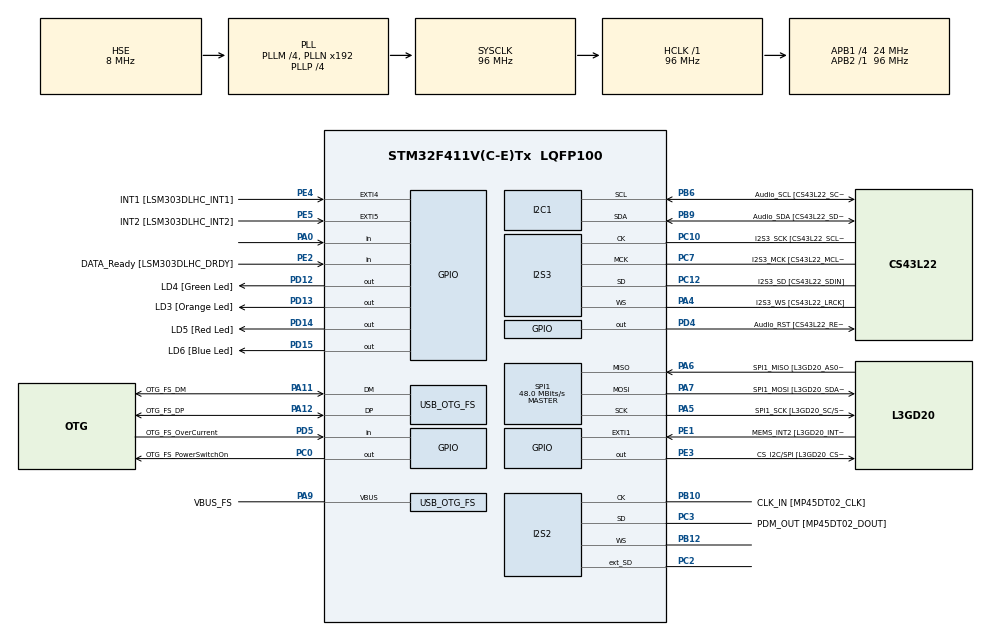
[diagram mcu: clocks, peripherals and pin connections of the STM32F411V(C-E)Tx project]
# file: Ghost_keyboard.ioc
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I2S2.AudioFreq=I2S_AUDIOFREQ_96K
I2S2.ErrorAudioFreq=0.15 %
I2S2.FullDuplexMode=I2S_FULLDUPLEXMODE_ENABLE
I2S2.Instance=SPI$Index
I2S2.RealAudioFreq=96.153 KHz
I2S2.VirtualMode=I2S_MODE_MASTER
I2S3.AudioFreq=I2S_AUDIOFREQ_96K
I2S3.ErrorAudioFreq=-6.99 %
I2S3.FullDuplexMode=I2S_FULLDUPLEXMODE_DISABLE
I2S3.Instance=SPI$Index
I2S3.RealAudioFreq=89.285 KHz
I2S3.VirtualMode=I2S_MODE_MASTER
Mcu.Family=STM32F4
Mcu.Name=STM32F411V(C-E)Tx
Mcu.Package=LQFP100
NVIC.OTG_FS_IRQn=true\:0\:0\:false\:false\:true\:true\:true\:true
NVIC.PriorityGroup=NVIC_PRIORITYGROUP_0
PA0-WKUP.Signal=GPIO_Input
PA10.GPIO_Label=OTG_FS_ID
PA10.Signal=USB_OTG_FS_ID
PA11.GPIO_Label=OTG_FS_DM
PA11.Mode=Device_Only
PA11.Signal=USB_OTG_FS_DM
PA12.GPIO_Label=OTG_FS_DP
PA12.Mode=Device_Only
PA12.Signal=USB_OTG_FS_DP
PA13.GPIO_Label=SWDIO
PA13.Mode=Serial_Wire
PA13.Signal=SYS_JTMS-SWDIO
PA14.GPIO_Label=SWCLK
PA14.Mode=Serial_Wire
PA14.Signal=SYS_JTCK-SWCLK
PA4.GPIO_Label=I2S3_WS [CS43L22_LRCK]
PA4.GPIO_Mode=GPIO_MODE_AF_PP
PA4.GPIO_PuPd=GPIO_NOPULL
PA4.GPIO_Speed=GPIO_SPEED_FREQ_LOW
PA4.Mode=Half_Duplex_Master
PA4.Signal=I2S3_WS
PA5.GPIO_Label=SPI1_SCK [L3GD20_SC/SPC]
PA5.Mode=Full_Duplex_Master
PA5.Signal=SPI1_SCK
PA6.GPIO_Label=SPI1_MISO [L3GD20_AS0/SDO]
PA6.Mode=Full_Duplex_Master
PA6.Signal=SPI1_MISO
PA7.GPIO_Label=SPI1_MOSI [L3GD20_SDA/SDI/SDO]
PA7.Mode=Full_Duplex_Master
PA7.Signal=SPI1_MOSI
PA9.GPIO_Label=VBUS_FS
PA9.Mode=Activate_VBUS
PA9.Signal=USB_OTG_FS_VBUS
PB10.GPIO_Label=CLK_IN [MP45DT02_CLK]
PB10.Mode=Full_Duplex_Master
PB10.Signal=I2S2_CK
PB12.Mode=Full_Duplex_Master
PB12.Signal=I2S2_WS
PB3.GPIO_Label=SWO
PB3.Signal=SYS_JTDO-SWO
PB6.GPIO_Label=Audio_SCL [CS43L22_SCL]
PB6.GPIO_Mode=GPIO_MODE_AF_OD
PB6.GPIO_Pu=GPIO_PULLUP
PB6.GPIO_PuPd=GPIO_NOPULL
PB6.GPIO_Speed=GPIO_SPEED_FREQ_LOW
PB6.Mode=I2C
PB6.Signal=I2C1_SCL
PB9.GPIO_Label=Audio_SDA [CS43L22_SDA]
PB9.GPIO_Mode=GPIO_MODE_AF_OD
PB9.GPIO_Pu=GPIO_PULLUP
PB9.GPIO_PuPd=GPIO_NOPULL
PB9.GPIO_Speed=GPIO_SPEED_FREQ_LOW
PB9.Mode=I2C
PB9.Signal=I2C1_SDA
PC0.GPIO_Label=OTG_FS_PowerSwitchOn
PC0.PinState=GPIO_PIN_SET
PC0.Signal=GPIO_Output
PC10.GPIO_Label=I2S3_SCK [CS43L22_SCLK]
PC10.GPIO_Mode=GPIO_MODE_AF_PP
PC10.GPIO_PuPd=GPIO_NOPULL
PC10.GPIO_Speed=GPIO_SPEED_FREQ_LOW
PC10.Mode=Half_Duplex_Master
PC10.Signal=I2S3_CK
PC12.GPIO_Label=I2S3_SD [CS43L22_SDIN]
PC12.GPIO_Mode=GPIO_MODE_AF_PP
PC12.GPIO_PuPd=GPIO_NOPULL
PC12.GPIO_Speed=GPIO_SPEED_FREQ_LOW
PC12.Mode=Half_Duplex_Master
PC12.Signal=I2S3_SD
PC14-OSC32_IN.GPIO_Label=PC14-OSC32_IN
PC14-OSC32_IN.Mode=LSE-External-Oscillator
PC14-OSC32_IN.Signal=RCC_OSC32_IN
PC15-OSC32_OUT.GPIO_Label=PC15-OSC32_OUT
PC15-OSC32_OUT.Mode=LSE-External-Oscillator
PC15-OSC32_OUT.Signal=RCC_OSC32_OUT
PC2.Mode=Full_Duplex_Master
PC2.Signal=I2S2_ext_SD
PC3.GPIO_Label=PDM_OUT [MP45DT02_DOUT]
PC3.Mode=Full_Duplex_Master
PC3.Signal=I2S2_SD
PC7.GPIO_Label=I2S3_MCK [CS43L22_MCLK]
PC7.GPIO_Mode=GPIO_MODE_AF_PP
PC7.GPIO_PuPd=GPIO_NOPULL
PC7.GPIO_Speed=GPIO_SPEED_FREQ_LOW
PC7.Mode=Master_Clock_Activated
PC7.Signal=I2S3_MCK
PD12.GPIO_Label=LD4 [Green Led]
PD12.GPIO_PuPd=GPIO_NOPULL
PD12.GPIO_Speed=GPIO_SPEED_FREQ_LOW
PD12.Signal=GPIO_Output
PD13.GPIO_Label=LD3 [Orange Led]
PD13.GPIO_PuPd=GPIO_NOPULL
PD13.GPIO_Speed=GPIO_SPEED_FREQ_LOW
PD13.Signal=GPIO_Output
PD14.GPIO_Label=LD5 [Red Led]
PD14.GPIO_PuPd=GPIO_NOPULL
PD14.GPIO_Speed=GPIO_SPEED_FREQ_LOW
PD14.Signal=GPIO_Output
PD15.GPIO_Label=LD6 [Blue Led]
PD15.GPIO_PuPd=GPIO_NOPULL
PD15.GPIO_Speed=GPIO_SPEED_FREQ_LOW
PD15.Signal=GPIO_Output
PD4.GPIO_Label=Audio_RST [CS43L22_RESET]
PD4.Signal=GPIO_Output
PD5.GPIO_Label=OTG_FS_OverCurrent
PD5.Signal=GPIO_Input
PE1.GPIO_Label=MEMS_INT2 [L3GD20_INT2]
PE1.GPIO_ModeDefaultEXTI=GPIO_MODE_EVT_RISING
PE1.Signal=GPXTI1
PE2.GPIO_Label=DATA_Ready [LSM303DLHC_DRDY]
PE2.Signal=GPIO_Input
PE3.GPIO_Label=CS_I2C/SPI [L3GD20_CS_I2C/SPI]
PE3.Signal=GPIO_Output
PE4.GPIO_Label=INT1 [LSM303DLHC_INT1]
PE4.GPIO_ModeDefaultEXTI=GPIO_MODE_EVT_RISING
PE4.Signal=GPXTI4
PE5.GPIO_Label=INT2 [LSM303DLHC_INT2]
PE5.GPIO_ModeDefaultEXTI=GPIO_MODE_EVT_RISING
PE5.Signal=GPXTI5
PH0\ -\ OSC_IN.GPIO_Label=PH0-OSC_IN
PH0\ -\ OSC_IN.Mode=HSE-External-Oscillator
PH0\ -\ OSC_IN.Signal=RCC_OSC_IN
PH1\ -\ OSC_OUT.GPIO_Label=PH1-OSC_OUT
PH1\ -\ OSC_OUT.Mode=HSE-External-Oscillator
PH1\ -\ OSC_OUT.Signal=RCC_OSC_OUT
ProjectManager.HeapSize=0x200
ProjectManager.StackSize=0x400
ProjectManager.TargetToolchain=STM32CubeIDE
RCC.48MHZClocksFreq_Value=48000000
RCC.AHBFreq_Value=96000000
RCC.APB1CLKDivider=RCC_HCLK_DIV4
RCC.APB1Freq_Value=24000000
RCC.APB1TimFreq_Value=48000000
RCC.APB2Freq_Value=96000000
RCC.APB2TimFreq_Value=96000000
RCC.CortexFreq_Value=96000000
RCC.HCLKFreq_Value=96000000
RCC.HSE_VALUE=8000000
RCC.HSI_VALUE=16000000
RCC.PLLI2SM=5
RCC.PLLI2SN=200
RCC.PLLM=4
RCC.PLLP=RCC_PLLP_DIV4
RCC.PLLQ=8
RCC.SYSCLKFreq_VALUE=96000000
RCC.SYSCLKSource=RCC_SYSCLKSOURCE_PLLCLK
RCC.VCOOutputFreq_Value=384000000
SPI1.BaudRatePrescaler=SPI_BAUDRATEPRESCALER_2
SPI1.CalculateBaudRate=48.0 MBits/s
SPI1.Direction=SPI_DIRECTION_2LINES
SPI1.Mode=SPI_MODE_MASTER
SPI1.VirtualType=VM_MASTER
USB_DEVICE.CLASS_NAME_FS=CUSTOM_HID
USB_DEVICE.MANUFACTURER_STRING=KeyboardGhost
USB_DEVICE.USBD_CUSTOMHID_OUTREPORT_BUF_SIZE=9
USB_DEVICE.USBD_CUSTOM_HID_REPORT_DESC_SIZE=63
USB_DEVICE.VirtualMode=CustomHid
USB_DEVICE.VirtualModeFS=Custom_Hid_FS
USB_OTG_FS.VirtualMode=Device_Only
VP_USB_DEVICE_VS_USB_DEVICE_CUSTOM_HID_FS.Mode=CUSTOM_HID_FS
board=STM32F411E-DISCO

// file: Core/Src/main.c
/* USER CODE BEGIN Header */
/*
  */
/* USER CODE END Header */
#include "main.h"
#include "usb_device.h"

/* USER CODE BEGIN Includes */
#include "usbd_custom_hid_if.h"
#include <stdbool.h>
#include <string.h>	// For memset

/* USER CODE END Includes */

I2C_HandleTypeDef hi2c1;

I2S_HandleTypeDef hi2s2;
I2S_HandleTypeDef hi2s3;

SPI_HandleTypeDef hspi1;

/* USER CODE BEGIN PV */
extern USBD_HandleTypeDef hUsbDeviceFS;

static uint8_t keyboard_report[8] = {0};   // Modifier, reserved, key1..key6
static bool button_press_state = 0;	// 0 = unpressed, 1 = pressed
static bool button_last_state = 0;	// 0 = unpressed, 1 = pressed

/* USER CODE END PV */

void SystemClock_Config(void);
void PeriphCommonClock_Config(void);
static void MX_GPIO_Init(void);
static void MX_I2C1_Init(void);
static void MX_I2S2_Init(void);
static void MX_I2S3_Init(void);
static void MX_SPI1_Init(void);
/* USER CODE BEGIN PFP */

void hid_send_key(uint8_t modifier, uint8_t keycode);
void hid_send_char(char c);
void hid_send_string(const char *s);
void hid_send_ascii_range(char from, char to);
uint8_t ascii_to_hid(char c, uint8_t *modifier, uint8_t *keycode);

/* USER CODE END PFP */

int main(void)
{

  /* MCU Configuration--------------------------------------------------------*/

  /* Reset of all peripherals, Initializes the Flash interface and the Systick. */
  HAL_Init();

  /* Configure the system clock */
  SystemClock_Config();

  /* Configure the peripherals common clocks */
  PeriphCommonClock_Config();

  /* Initialize all configured peripherals */
  MX_GPIO_Init();
  MX_I2C1_Init();
  MX_I2S2_Init();
  MX_I2S3_Init();
  MX_SPI1_Init();
  MX_USB_DEVICE_Init();

  /* Infinite loop */
  /* USER CODE BEGIN WHILE */
  while (1)
  {
	  uint8_t button_state = HAL_GPIO_ReadPin(GPIOA, GPIO_PIN_0);

	  if (button_state && !button_last_state)	// Detect rising edge (button just pressed)
	  {
		  HAL_Delay(30);	// Simple debounce
		  if (HAL_GPIO_ReadPin(GPIOA, GPIO_PIN_0))  // Still pressed
		  {
			  button_press_state = !button_press_state;
			  if (button_press_state)  // Even press
			  {
				  hid_send_string("29402");	// Type "29402"
			  }
			  else	// Odd press
			  {
				  hid_send_ascii_range(36, 124);	// Type ASCII characters from 36 ('$') to 124 ('|')
			  }
		  }
	  }

	  button_last_state = button_state;
	  HAL_Delay(5);  // Small poll delay
    /* USER CODE END WHILE */

  }
}

void SystemClock_Config(void)
{
  RCC_OscInitTypeDef RCC_OscInitStruct = {0};
  RCC_ClkInitTypeDef RCC_ClkInitStruct = {0};

  /** Configure the main internal regulator output voltage
  */
  __HAL_RCC_PWR_CLK_ENABLE();
  __HAL_PWR_VOLTAGESCALING_CONFIG(PWR_REGULATOR_VOLTAGE_SCALE1);

  /** Initializes the RCC Oscillators according to the specified parameters
  * in the RCC_OscInitTypeDef structure.
  */
  RCC_OscInitStruct.OscillatorType = RCC_OSCILLATORTYPE_HSE;
  RCC_OscInitStruct.HSEState = RCC_HSE_ON;
  RCC_OscInitStruct.PLL.PLLState = RCC_PLL_ON;
  RCC_OscInitStruct.PLL.PLLSource = RCC_PLLSOURCE_HSE;
  RCC_OscInitStruct.PLL.PLLM = 4;
  RCC_OscInitStruct.PLL.PLLN = 192;
  RCC_OscInitStruct.PLL.PLLP = RCC_PLLP_DIV4;
  RCC_OscInitStruct.PLL.PLLQ = 8;
  if (HAL_RCC_OscConfig(&RCC_OscInitStruct) != HAL_OK)
  {
    Error_Handler();
  }

  /** Initializes the CPU, AHB and APB buses clocks
  */
  RCC_ClkInitStruct.ClockType = RCC_CLOCKTYPE_HCLK|RCC_CLOCKTYPE_SYSCLK
                              |RCC_CLOCKTYPE_PCLK1|RCC_CLOCKTYPE_PCLK2;
  RCC_ClkInitStruct.SYSCLKSource = RCC_SYSCLKSOURCE_PLLCLK;
  RCC_ClkInitStruct.AHBCLKDivider = RCC_SYSCLK_DIV1;
  RCC_ClkInitStruct.APB1CLKDivider = RCC_HCLK_DIV4;
  RCC_ClkInitStruct.APB2CLKDivider = RCC_HCLK_DIV1;

  if (HAL_RCC_ClockConfig(&RCC_ClkInitStruct, FLASH_LATENCY_3) != HAL_OK)
  {
    Error_Handler();
  }
}

void PeriphCommonClock_Config(void)
{
  RCC_PeriphCLKInitTypeDef PeriphClkInitStruct = {0};

  /** Initializes the peripherals clock
  */
  PeriphClkInitStruct.PeriphClockSelection = RCC_PERIPHCLK_I2S;
  PeriphClkInitStruct.PLLI2S.PLLI2SN = 200;
  PeriphClkInitStruct.PLLI2S.PLLI2SM = 5;
  PeriphClkInitStruct.PLLI2S.PLLI2SR = 2;
  if (HAL_RCCEx_PeriphCLKConfig(&PeriphClkInitStruct) != HAL_OK)
  {
    Error_Handler();
  }
}

static void MX_I2C1_Init(void)
{

  hi2c1.Instance = I2C1;
  hi2c1.Init.ClockSpeed = 100000;
  hi2c1.Init.DutyCycle = I2C_DUTYCYCLE_2;
  hi2c1.Init.OwnAddress1 = 0;
  hi2c1.Init.AddressingMode = I2C_ADDRESSINGMODE_7BIT;
  hi2c1.Init.DualAddressMode = I2C_DUALADDRESS_DISABLE;
  hi2c1.Init.OwnAddress2 = 0;
  hi2c1.Init.GeneralCallMode = I2C_GENERALCALL_DISABLE;
  hi2c1.Init.NoStretchMode = I2C_NOSTRETCH_DISABLE;
  if (HAL_I2C_Init(&hi2c1) != HAL_OK)
  {
    Error_Handler();
  }

}

static void MX_I2S2_Init(void)
{

  hi2s2.Instance = SPI2;
  hi2s2.Init.Mode = I2S_MODE_MASTER_TX;
  hi2s2.Init.Standard = I2S_STANDARD_PHILIPS;
  hi2s2.Init.DataFormat = I2S_DATAFORMAT_16B;
  hi2s2.Init.MCLKOutput = I2S_MCLKOUTPUT_DISABLE;
  hi2s2.Init.AudioFreq = I2S_AUDIOFREQ_96K;
  hi2s2.Init.CPOL = I2S_CPOL_LOW;
  hi2s2.Init.ClockSource = I2S_CLOCK_PLL;
  hi2s2.Init.FullDuplexMode = I2S_FULLDUPLEXMODE_ENABLE;
  if (HAL_I2S_Init(&hi2s2) != HAL_OK)
  {
    Error_Handler();
  }

}

static void MX_I2S3_Init(void)
{

  hi2s3.Instance = SPI3;
  hi2s3.Init.Mode = I2S_MODE_MASTER_TX;
  hi2s3.Init.Standard = I2S_STANDARD_PHILIPS;
  hi2s3.Init.DataFormat = I2S_DATAFORMAT_16B;
  hi2s3.Init.MCLKOutput = I2S_MCLKOUTPUT_ENABLE;
  hi2s3.Init.AudioFreq = I2S_AUDIOFREQ_96K;
  hi2s3.Init.CPOL = I2S_CPOL_LOW;
  hi2s3.Init.ClockSource = I2S_CLOCK_PLL;
  hi2s3.Init.FullDuplexMode = I2S_FULLDUPLEXMODE_DISABLE;
  if (HAL_I2S_Init(&hi2s3) != HAL_OK)
  {
    Error_Handler();
  }

}

static void MX_SPI1_Init(void)
{

  /* SPI1 parameter configuration*/
  hspi1.Instance = SPI1;
  hspi1.Init.Mode = SPI_MODE_MASTER;
  hspi1.Init.Direction = SPI_DIRECTION_2LINES;
  hspi1.Init.DataSize = SPI_DATASIZE_8BIT;
  hspi1.Init.CLKPolarity = SPI_POLARITY_LOW;
  hspi1.Init.CLKPhase = SPI_PHASE_1EDGE;
  hspi1.Init.NSS = SPI_NSS_SOFT;
  hspi1.Init.BaudRatePrescaler = SPI_BAUDRATEPRESCALER_2;
  hspi1.Init.FirstBit = SPI_FIRSTBIT_MSB;
  hspi1.Init.TIMode = SPI_TIMODE_DISABLE;
  hspi1.Init.CRCCalculation = SPI_CRCCALCULATION_DISABLE;
  hspi1.Init.CRCPolynomial = 10;
  if (HAL_SPI_Init(&hspi1) != HAL_OK)
  {
    Error_Handler();
  }

}

static void MX_GPIO_Init(void)
{
  GPIO_InitTypeDef GPIO_InitStruct = {0};

  /* GPIO Ports Clock Enable */
  __HAL_RCC_GPIOE_CLK_ENABLE();
  __HAL_RCC_GPIOC_CLK_ENABLE();
  __HAL_RCC_GPIOH_CLK_ENABLE();
  __HAL_RCC_GPIOA_CLK_ENABLE();
  __HAL_RCC_GPIOB_CLK_ENABLE();
  __HAL_RCC_GPIOD_CLK_ENABLE();

  /*Configure GPIO pin Output Level */
  HAL_GPIO_WritePin(CS_I2C_SPI_GPIO_Port, CS_I2C_SPI_Pin, GPIO_PIN_RESET);

  /*Configure GPIO pin Output Level */
  HAL_GPIO_WritePin(OTG_FS_PowerSwitchOn_GPIO_Port, OTG_FS_PowerSwitchOn_Pin, GPIO_PIN_SET);

  /*Configure GPIO pin Output Level */
  HAL_GPIO_WritePin(GPIOD, LD4_Pin|LD3_Pin|LD5_Pin|LD6_Pin
                          |Audio_RST_Pin, GPIO_PIN_RESET);

  /*Configure GPIO pin : DATA_Ready_Pin */
  GPIO_InitStruct.Pin = DATA_Ready_Pin;
  GPIO_InitStruct.Mode = GPIO_MODE_INPUT;
  GPIO_InitStruct.Pull = GPIO_NOPULL;
  HAL_GPIO_Init(DATA_Ready_GPIO_Port, &GPIO_InitStruct);

  /*Configure GPIO pin : CS_I2C_SPI_Pin */
  GPIO_InitStruct.Pin = CS_I2C_SPI_Pin;
  GPIO_InitStruct.Mode = GPIO_MODE_OUTPUT_PP;
  GPIO_InitStruct.Pull = GPIO_NOPULL;
  GPIO_InitStruct.Speed = GPIO_SPEED_FREQ_LOW;
  HAL_GPIO_Init(CS_I2C_SPI_GPIO_Port, &GPIO_InitStruct);

  /*Configure GPIO pins : INT1_Pin INT2_Pin MEMS_INT2_Pin */
  GPIO_InitStruct.Pin = INT1_Pin|INT2_Pin|MEMS_INT2_Pin;
  GPIO_InitStruct.Mode = GPIO_MODE_EVT_RISING;
  GPIO_InitStruct.Pull = GPIO_NOPULL;
  HAL_GPIO_Init(GPIOE, &GPIO_InitStruct);

  /*Configure GPIO pin : OTG_FS_PowerSwitchOn_Pin */
  GPIO_InitStruct.Pin = OTG_FS_PowerSwitchOn_Pin;
  GPIO_InitStruct.Mode = GPIO_MODE_OUTPUT_PP;
  GPIO_InitStruct.Pull = GPIO_NOPULL;
  GPIO_InitStruct.Speed = GPIO_SPEED_FREQ_LOW;
  HAL_GPIO_Init(OTG_FS_PowerSwitchOn_GPIO_Port, &GPIO_InitStruct);

  /*Configure GPIO pin : PA0 */
  GPIO_InitStruct.Pin = GPIO_PIN_0;
  GPIO_InitStruct.Mode = GPIO_MODE_INPUT;
  GPIO_InitStruct.Pull = GPIO_NOPULL;
  HAL_GPIO_Init(GPIOA, &GPIO_InitStruct);

  /*Configure GPIO pins : LD4_Pin LD3_Pin LD5_Pin LD6_Pin
                           Audio_RST_Pin */
  GPIO_InitStruct.Pin = LD4_Pin|LD3_Pin|LD5_Pin|LD6_Pin
                          |Audio_RST_Pin;
  GPIO_InitStruct.Mode = GPIO_MODE_OUTPUT_PP;
  GPIO_InitStruct.Pull = GPIO_NOPULL;
  GPIO_InitStruct.Speed = GPIO_SPEED_FREQ_LOW;
  HAL_GPIO_Init(GPIOD, &GPIO_InitStruct);

  /*Configure GPIO pin : OTG_FS_OverCurrent_Pin */
  GPIO_InitStruct.Pin = OTG_FS_OverCurrent_Pin;
  GPIO_InitStruct.Mode = GPIO_MODE_INPUT;
  GPIO_InitStruct.Pull = GPIO_NOPULL;
  HAL_GPIO_Init(OTG_FS_OverCurrent_GPIO_Port, &GPIO_InitStruct);

}

/* USER CODE BEGIN 4 */

/*
  Send one HID keyboard key (press + release).
  modifier: bitfield (bit 1 = LeftShift, bit 2 = LeftCtrl, etc.)
  keycode : HID usage ID for the key.
*/
void hid_send_key(uint8_t modifier, uint8_t keycode)
{
	// Press
	memset(keyboard_report, 0, sizeof(keyboard_report));	// Clear report bytes
	keyboard_report[0] = modifier;	// Set first byte for modifier
	keyboard_report[2] = keycode;	// First key slot (only one used)

	USBD_CUSTOM_HID_SendReport(&hUsbDeviceFS, keyboard_report, sizeof(keyboard_report));	// Key press
	HAL_Delay(20);   // Key hold time

	// Release
	memset(keyboard_report, 0, sizeof(keyboard_report));	// Reset memory
	USBD_CUSTOM_HID_SendReport(&hUsbDeviceFS, keyboard_report, sizeof(keyboard_report));	// Nothing is being pressed
	HAL_Delay(245);	// Delay between sending of characters
}
/*
    Convert ASCII character to HID modifier + keycode.
    Returns 1 if conversion exists, 0 otherwise.

    NOTE: Mapping is for a standard HID Keyboard with Bosnian
    QWERTZ layout.
 */
uint8_t ascii_to_hid(char c, uint8_t *modifier, uint8_t *keycode)
{
	*modifier = 0;
	*keycode = 0;

	switch (c)
	{
		// From 36 to 47 ASCII
		case '$': *modifier = 0x02; *keycode = 0x21; break;	// Shift + 4
		case '%': *modifier = 0x02; *keycode = 0x22; break;	// Shift + 5
		case '&': *modifier = 0x02; *keycode = 0x23; break;	// Shift + 6
		case '\'': *keycode = 0x2D; break;	// Next to 0
		case '(': *modifier = 0x02; *keycode = 0x25; break;	// Shift + 8
		case ')': *modifier = 0x02; *keycode = 0x26; break;	// Shift + 9
		case '*': *modifier = 0x02; *keycode = 0x2E; break;	// Shift + '+' (last key row)
		case '+': *keycode = 0x2E; break;	// '+'
		case ',': *keycode = 0x36; break;
		case '-': *keycode = 0x38; break;	// '-' (near right Shift)
		case '.': *keycode = 0x37; break;
		case '/': *modifier = 0x02; *keycode = 0x24; break;	// Shift + 7

		// From 48 to 57 ASCII
		case '0': *keycode = 0x27; break;	// 0
		case '1': *keycode = 0x1E; break;	// 1
		case '2': *keycode = 0x1F; break;	// 2
		case '3': *keycode = 0x20; break;	// 3
		case '4': *keycode = 0x21; break;	// 4
		case '5': *keycode = 0x22; break;	// 5
		case '6': *keycode = 0x23; break;	// 6
		case '7': *keycode = 0x24; break;	// 7
		case '8': *keycode = 0x25; break;	// 8
		case '9': *keycode = 0x26; break;	// 9

		// From 58 to 64 ASCII
		case ':': *modifier = 0x02; *keycode = 0x37; break;	// Shift + '.'
		case ';': *modifier = 0x02; *keycode = 0x36; break;	// Shift + ','
		case '<': *modifier = 0x40; *keycode = 0x36; break;	// AltGr + ','
		case '=': *modifier = 0x02; *keycode = 0x27; break;	// Shift + 0
		case '>': *modifier = 0x40; *keycode = 0x37; break;	// AltGr + ','
		case '?': *modifier = 0x02; *keycode = 0x2D; break;	// Shift + ''
		case '@': *modifier = 0x40; *keycode = 0x19; break;	// AltGr + 'v'

		// From 65 to 90 ASCII
		case 'A': *modifier = 0x02; *keycode = 0x04; break;
		case 'B': *modifier = 0x02; *keycode = 0x05; break;
		case 'C': *modifier = 0x02; *keycode = 0x06; break;
		case 'D': *modifier = 0x02; *keycode = 0x07; break;
		case 'E': *modifier = 0x02; *keycode = 0x08; break;
		case 'F': *modifier = 0x02; *keycode = 0x09; break;
		case 'G': *modifier = 0x02; *keycode = 0x0A; break;
		case 'H': *modifier = 0x02; *keycode = 0x0B; break;
		case 'I': *modifier = 0x02; *keycode = 0x0C; break;
		case 'J': *modifier = 0x02; *keycode = 0x0D; break;
		case 'K': *modifier = 0x02; *keycode = 0x0E; break;
		case 'L': *modifier = 0x02; *keycode = 0x0F; break;
		case 'M': *modifier = 0x02; *keycode = 0x10; break;
		case 'N': *modifier = 0x02; *keycode = 0x11; break;
		case 'O': *modifier = 0x02; *keycode = 0x12; break;
		case 'P': *modifier = 0x02; *keycode = 0x13; break;
		case 'Q': *modifier = 0x02; *keycode = 0x14; break;
		case 'R': *modifier = 0x02; *keycode = 0x15; break;
		case 'S': *modifier = 0x02; *keycode = 0x16; break;
		case 'T': *modifier = 0x02; *keycode = 0x17; break;
		case 'U': *modifier = 0x02; *keycode = 0x18; break;
		case 'V': *modifier = 0x02; *keycode = 0x19; break;
		case 'W': *modifier = 0x02; *keycode = 0x1A; break;
		case 'X': *modifier = 0x02; *keycode = 0x1B; break;
		case 'Y': *modifier = 0x02; *keycode = 0x1D; break;	// QWERTZ: physical 'Y' key is usage 0x1D
		case 'Z': *modifier = 0x02; *keycode = 0x1C; break;	// QWERTZ: physical 'Z' key is usage 0x1C

		// From 91 to 96 ASCII
		case '[': *modifier = 0x40; *keycode = 0x09; break;	// AltGr + 'f'
		case '\\':*modifier = 0x40; *keycode = 0x14; break;	// AltGr + 'q'
		case ']': *modifier = 0x40; *keycode = 0x0A; break;	// AltGr + 'g'
		case '^': *modifier = 0x40; *keycode = 0x20; break;	// AltGr + 3
		case '_': *modifier = 0x02; *keycode = 0x38; break;	// Shift + '-'
		case '`': *modifier = 0x40; *keycode = 0x24; break;	// Shift + 7

		// From 97 to 122 ASCII
		case 'a': *keycode = 0x04; break;
		case 'b': *keycode = 0x05; break;
		case 'c': *keycode = 0x06; break;
		case 'd': *keycode = 0x07; break;
		case 'e': *keycode = 0x08; break;
		case 'f': *keycode = 0x09; break;
		case 'g': *keycode = 0x0A; break;
		case 'h': *keycode = 0x0B; break;
		case 'i': *keycode = 0x0C; break;
		case 'j': *keycode = 0x0D; break;
		case 'k': *keycode = 0x0E; break;
		case 'l': *keycode = 0x0F; break;
		case 'm': *keycode = 0x10; break;
		case 'n': *keycode = 0x11; break;
		case 'o': *keycode = 0x12; break;
		case 'p': *keycode = 0x13; break;
		case 'q': *keycode = 0x14; break;
		case 'r': *keycode = 0x15; break;
		case 's': *keycode = 0x16; break;
		case 't': *keycode = 0x17; break;
		case 'u': *keycode = 0x18; break;
		case 'v': *keycode = 0x19; break;
		case 'w': *keycode = 0x1A; break;
		case 'x': *keycode = 0x1B; break;
		case 'y': *keycode = 0x1D; break;	// Swapped y/z
		case 'z': *keycode = 0x1C; break;

		// From 123 to 124 ASCII
		case '{': *modifier = 0x40; *keycode = 0x05; break;	// AltGr + 'b'
		case '|': *modifier = 0x40; *keycode = 0x1A; break;	// AltGr + 'w'

		default:
		  return 0;   // Not implemented (ignored)
	  }

	  return 1;
}

void hid_send_char(char c)
{
	uint8_t mod, code;	// Modifier and keycode initialization
	if (!ascii_to_hid(c, &mod, &code)) return;   // Skip unknown character
	hid_send_key(mod, code);	// Send a key using the obtained modifier and code
}

void hid_send_string(const char *s)
{
	while (*s)
	{
		hid_send_char(*s++);
	}
}

void hid_send_ascii_range(char from, char to)
{
	for (char c = from; c <= to; c++)
	{
		hid_send_char(c);
	}
}

/* USER CODE END 4 */

void Error_Handler(void)
{
  __disable_irq();
  while (1)
  {
  }
}
